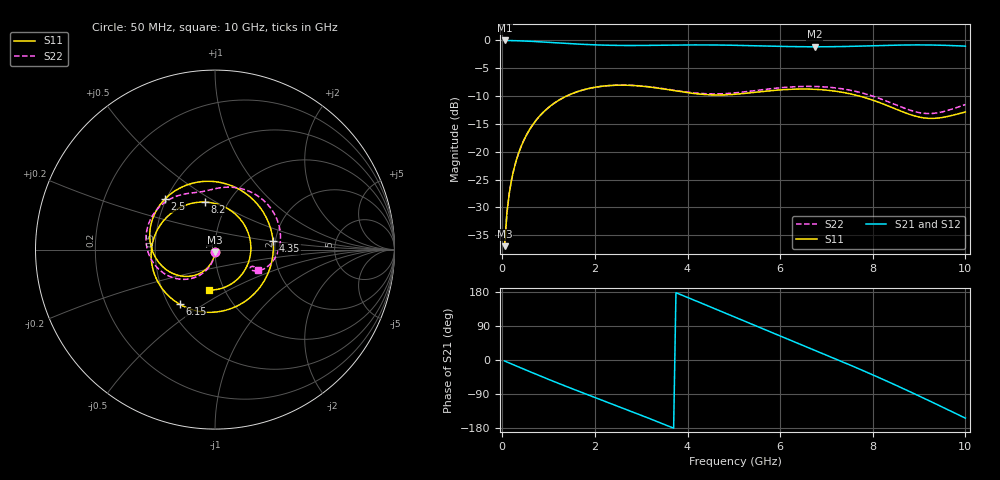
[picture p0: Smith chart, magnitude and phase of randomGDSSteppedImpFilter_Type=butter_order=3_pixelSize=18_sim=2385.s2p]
! freq	dB(S11)	phase(S11)	dB(S12)	phase(S12)
!  dB(S21)	phase(S21)	dB(S22)	phase(S22)
!S-par simulation data
#  GHz  S  DB  R 50
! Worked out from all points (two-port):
!   200 points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, 50 MHz to 10 GHz, reference 50 ohm
!   highest |S21| = -0.01 dB at 50 MHz (marker M1); lowest = -1.1 dB at 6.75 GHz (marker M2)
!   |S21| within 3 dB of the highest: start of sweep to end of sweep
!   lowest |S11| = -37.0 dB at 50 MHz (marker M3), VSWR 1.03, Z = 49.9 - j1.41 ohm
!   |S11| at or under -10 dB: start of sweep to 1.387 GHz; 7.711 GHz to end of sweep
!   |S22| runs from -37.0 to -8.0 dB; largest |S21 - S12| = 0
!   S11 on the Smith chart (normalised r, x): 50 MHz: 1.00, -0.03; 2.5 GHz: 0.49, +0.33; 4.35 GHz: 1.94, +0.21; 6.15 GHz: 0.57, -0.40; 8.2 GHz: 0.78, +0.45; 10 GHz: 0.85, -0.40
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0.05  -36.97 -92.6  -0.01 -2.6  -0.01 -2.6  -36.97 -92.3
0.1  -30.98 -95.5  -0.01 -5.3  -0.01 -5.3  -30.98 -94.9
0.2  -25.04 -101.3  -0.03 -10.5  -0.03 -10.5  -25.04 -100.1
0.5  -17.35 -117.9  -0.12 -25.9  -0.12 -25.9  -17.35 -115.0
1.15  -11.12 -152.9  -0.42 -58.5  -0.42 -58.5  -11.12 -145.3
1.75  -8.88 175.5  -0.71 -87.2  -0.71 -87.2  -8.88 -171.3
2.5  -8.04 134.9  -0.90 -122.3  -0.90 -122.3  -8.03 159.3
3.4  -8.62 79.7  -0.87 -165.2  -0.87 -165.2  -8.57 129.2
3.9  -9.27 43.9  -0.82 170.1  -0.82 170.1  -9.18 115.9
4.35  -9.71 8.6  -0.81 147.4  -0.81 147.4  -9.56 106.0
5.05  -9.66 -47.1  -0.88 111.7  -0.88 111.7  -9.40 90.6
5.6  -9.20 -87.0  -0.99 83.7  -0.99 83.7  -8.87 74.7
6.15  -8.81 -122.9  -1.09 55.9  -1.09 55.9  -8.40 55.1
6.7  -8.77 -156.4  -1.14 28.2  -1.14 28.2  -8.26 33.4
6.75  -8.78 -159.4  -1.14 25.6  -1.14 25.6  -8.27 31.4
7.5  -9.58 153.9  -1.07 -12.8  -1.07 -12.8  -8.92 1.6
8.2  -11.34 102.3  -0.91 -50.1  -0.91 -50.1  -10.59 -21.0
8.35  -11.83 89.3  -0.88 -58.3  -0.88 -58.3  -11.07 -24.3
8.75  -13.15 49.7  -0.82 -80.7  -0.82 -80.7  -12.38 -29.0
9.15  -13.97 3.2  -0.81 -103.6  -0.81 -103.6  -13.13 -27.3
9.55  -13.77 -45.8  -0.88 -126.9  -0.88 -126.9  -12.74 -24.0
10  -12.86 -98.1  -1.03 -153.5  -1.03 -153.5  -11.52 -24.8
